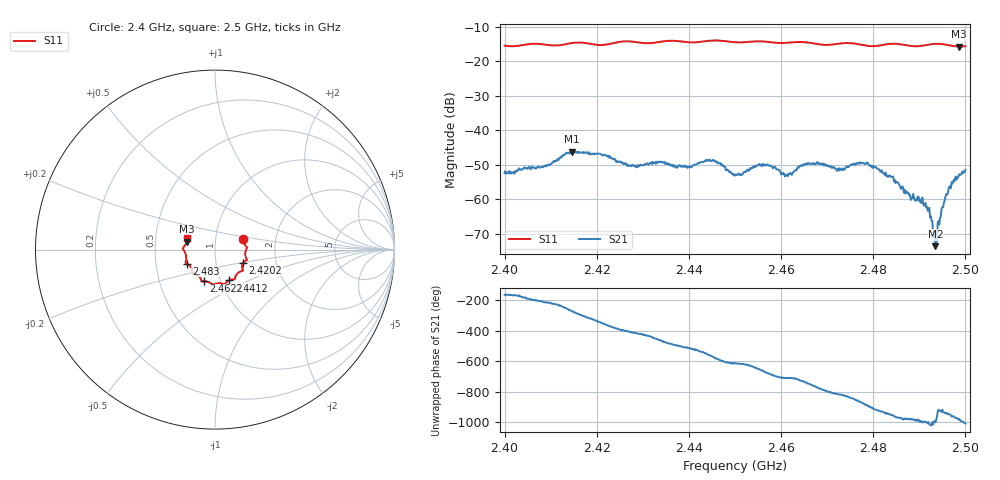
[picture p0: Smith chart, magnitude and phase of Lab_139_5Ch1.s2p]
# Hz S RI R 50
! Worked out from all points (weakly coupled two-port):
!   601 points, 2.4 GHz to 2.5 GHz, reference 50 ohm
!   highest |S21| = -46.12 dB at 2.4147 GHz (marker M1); lowest = -73.5 dB at 2.4935 GHz (marker M2)
!   lowest |S11| = -15.8 dB at 2.4987 GHz (marker M3), VSWR 1.39, Z = 36.3 + j3.3 ohm
!   |S11| at or under -10 dB: start of sweep to end of sweep
!   S12 and S22 are empty: the file has one direction only
!   S11 on the Smith chart (normalised r, x): 2.4 GHz: 1.36, +0.17; 2.4202 GHz: 1.35, -0.20; 2.4412 GHz: 1.09, -0.39; 2.4622 GHz: 0.83, -0.30; 2.483 GHz: 0.72, -0.12; 2.5 GHz: 0.73, +0.09
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2.4e9  0.1573 0.0603  -0.00231 -0.000692  0 0  0 0
2.4085e9  0.1756 0.00443  -0.00255 0.00164  0 0  0 0
2.414667e9  0.1765 -0.0528  0.000157 0.00494  0 0  0 0
2.416667e9  0.1771 -0.0587  0.00221 0.00425  0 0  0 0
2.420167e9  0.1568 -0.0724  0.00428 0.00168  0 0  0 0
2.427e9  0.1553 -0.1171  0.00218 -0.00222  0 0  0 0
2.433333e9  0.1132 -0.1516  -0.00056 -0.00337  0 0  0 0
2.441167e9  0.0758 -0.1721  -0.00308 -0.000804  0 0  0 0
2.4455e9  0.0525 -0.1933  -0.00298 0.00211  0 0  0 0
2.45e9  0.0268 -0.1871  -0.000653 0.00213  0 0  0 0
2.455667e9  -0.0133 -0.1943  0.00154 0.0028  0 0  0 0
2.462167e9  -0.0625 -0.1767  0.00235 0.000435  0 0  0 0
2.466667e9  -0.0774 -0.1666  0.0027 -0.00192  0 0  0 0
2.473167e9  -0.1211 -0.1362  -0.000523 -0.00267  0 0  0 0
2.478333e9  -0.1279 -0.1105  -0.00316 -0.000735  0 0  0 0
2.483e9  -0.1584 -0.0782  -0.00158 0.00157  0 0  0 0
2.483333e9  -0.1602 -0.0773  -0.00149 0.00154  0 0  0 0
2.491167e9  -0.1699 -0.0101  0.000101 0.000819  0 0  0 0
2.4935e9  -0.1788 0.00528  4.02e-05 0.000207  0 0  0 0
2.496167e9  -0.1714 0.0183  -0.000811 0.000898  0 0  0 0
2.498667e9  -0.1569 0.0442  -0.000443 0.00228  0 0  0 0
2.5e9  -0.1536 0.0622  0.000842 0.00255  0 0  0 0
